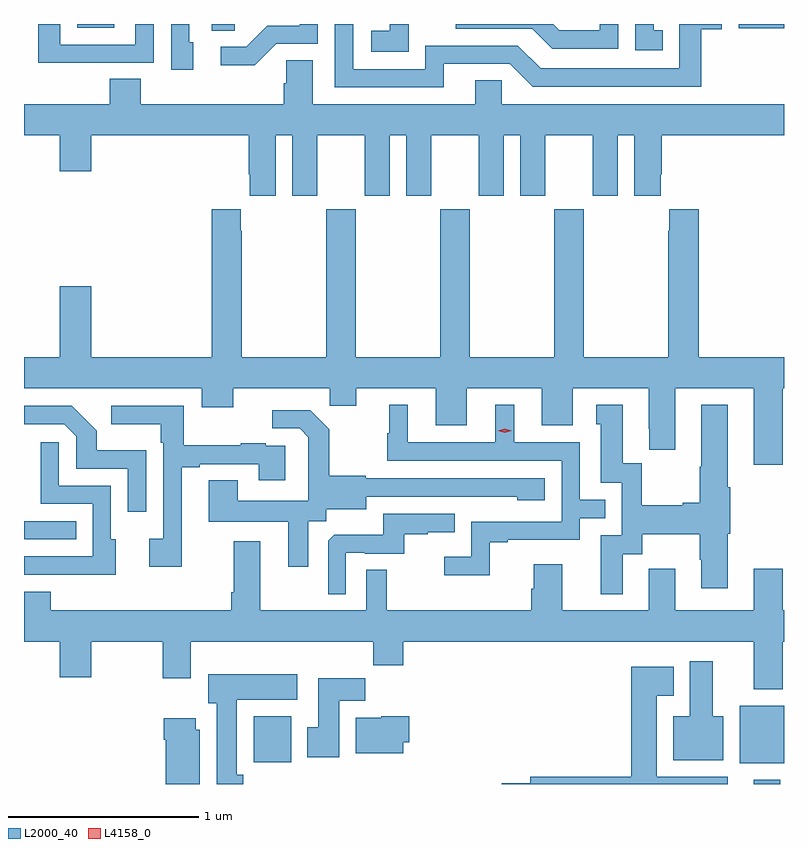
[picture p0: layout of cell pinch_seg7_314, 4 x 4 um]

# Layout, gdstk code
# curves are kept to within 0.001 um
import gdstk
lib = gdstk.Library(unit=1e-6, precision=1e-09)
def R(c, l, rs):  # rectangles x0, y0, x1, y1
    for r in rs: c.add(gdstk.rectangle(r[:2], r[2:], *l))
def P(c, l, *ps):  # polygons
    for p in ps: c.add(gdstk.Polygon(p, *l))
L2000_40 = (2000, 40)
L4158_0 = (4158, 0)

pinch_seg7_314 = lib.new_cell('pinch_seg7_314')
R(pinch_seg7_314, L2000_40, [(456.371,1053.146,456.511,1053.169), (456.299,1053.254,456.531,1053.559), (453.74,1053.26,453.937,1053.502), (452.531,1054.434,452.807,1054.53), (453.518,1057.111,453.639,1057.146), (456.293,1057.124,456.531,1057.146), (452.81,1057.127,453.007,1057.146)])
P(pinch_seg7_314, L2000_40, [(455.658,1057.146),(455.562,1057.146),(455.562,1057.114),(455.348,1057.114),(455.316,1057.146),(454.804,1057.146),(454.804,1057.122),(455.207,1057.122),(455.312,1057.017),(455.658,1057.017)],
  [(455.894,1057.113),(455.845,1057.113),(455.845,1057.146),(455.748,1057.146),(455.748,1057.008),(455.894,1057.008)],
  [(452.897,1056.942),(453.213,1056.942),(453.213,1057.146),(453.117,1057.146),(453.117,1057.038),(452.721,1057.038),(452.721,1057.146),(452.605,1057.146),(452.605,1056.941),(452.897,1056.941)],
  [(454.557,1057.146),(454.457,1057.146),(454.457,1057.111),(454.359,1057.111),(454.359,1057.001),(454.557,1057.001)],
  [(454.741,1056.936),(455.088,1056.936),(455.208,1056.816),(456.095,1056.816),(456.095,1057.119),(456.204,1057.119),(456.204,1057.146),(455.979,1057.146),(455.979,1056.912),(455.25,1056.912),(455.13,1057.032),(454.644,1057.032),(454.644,1056.909),(454.263,1056.909),(454.263,1057.146),(454.167,1057.146),(454.167,1056.813),(454.741,1056.813)],
  [(453.421,1057.05),(453.402,1057.05),(453.402,1057.146),(453.306,1057.146),(453.306,1056.906),(453.421,1056.906)],
  [(453.858,1057.041),(454.077,1057.041),(454.077,1057.146),(453.981,1057.146),(453.981,1057.137),(453.812,1057.137),(453.701,1057.026),(453.567,1057.026),(453.567,1056.929),(453.745,1056.929)],
  [(455.046,1056.851),(454.907,1056.851),(454.907,1056.724),(454.051,1056.724),(454.051,1056.956),(453.912,1056.956),(453.912,1056.833),(453.899,1056.833),(453.899,1056.724),(453.146,1056.724),(453.146,1056.857),(452.981,1056.857),(452.981,1056.724),(452.531,1056.724),(452.531,1056.56),(452.72,1056.56),(452.72,1056.372),(452.884,1056.372),(452.884,1056.56),(453.713,1056.56),(453.713,1056.355),(453.719,1056.355),(453.719,1056.243),(453.856,1056.243),(453.856,1056.56),(453.944,1056.56),(453.944,1056.243),(454.075,1056.243),(454.075,1056.56),(454.325,1056.56),(454.325,1056.243),(454.456,1056.243),(454.456,1056.56),(454.544,1056.56),(454.544,1056.243),(454.675,1056.243),(454.675,1056.56),(454.925,1056.56),(454.925,1056.243),(455.056,1056.243),(455.056,1056.56),(455.144,1056.56),(455.144,1056.243),(455.275,1056.243),(455.275,1056.56),(455.525,1056.56),(455.525,1056.243),(455.656,1056.243),(455.656,1056.56),(455.744,1056.56),(455.744,1056.243),(455.881,1056.243),(455.881,1056.355),(455.888,1056.355),(455.888,1056.56),(456.531,1056.56),(456.531,1056.724),(455.046,1056.724)],
  [(456.524,1055.228),(456.531,1055.228),(456.531,1055.392),(456.083,1055.392),(456.083,1056.172),(455.927,1056.172),(455.927,1056.059),(455.923,1056.059),(455.923,1055.392),(455.478,1055.392),(455.478,1056.172),(455.323,1056.172),(455.323,1055.392),(454.878,1055.392),(454.878,1056.172),(454.723,1056.172),(454.723,1055.392),(454.278,1055.392),(454.278,1056.172),(454.123,1056.172),(454.123,1055.392),(453.678,1055.392),(453.678,1056.059),(453.673,1056.059),(453.673,1056.172),(453.518,1056.172),(453.518,1055.392),(452.884,1055.392),(452.884,1055.767),(452.72,1055.767),(452.72,1055.392),(452.531,1055.392),(452.531,1055.228),(453.467,1055.228),(453.467,1055.129),(453.631,1055.129),(453.631,1055.228),(454.141,1055.228),(454.141,1055.138),(454.279,1055.138),(454.279,1055.228),(454.697,1055.228),(454.697,1055.034),(454.861,1055.034),(454.861,1055.228),(455.255,1055.228),(455.255,1055.034),(455.419,1055.034),(455.419,1055.228),(455.819,1055.228),(455.819,1055.017),(455.822,1055.017),(455.822,1054.905),(455.959,1054.905),(455.959,1055.228),(456.371,1055.228),(456.371,1054.827),(456.524,1054.827)],
  [(455.683,1054.354),(455.785,1054.354),(455.785,1054.46),(456.088,1054.46),(456.088,1054.326),(456.095,1054.326),(456.095,1054.176),(456.235,1054.176),(456.235,1054.464),(456.248,1054.464),(456.248,1054.708),(456.235,1054.708),(456.235,1055.143),(456.095,1055.143),(456.095,1054.817),(456.088,1054.817),(456.088,1054.625),(455.999,1054.625),(455.999,1054.612),(455.781,1054.612),(455.781,1054.835),(455.683,1054.835),(455.683,1055.143),(455.543,1055.143),(455.543,1055.04),(455.567,1055.04),(455.567,1054.731),(455.676,1054.731),(455.676,1054.455),(455.567,1054.455),(455.567,1054.146),(455.683,1054.146)],
  [(454.983,1054.419),(455.077,1054.419),(455.077,1054.431),(455.457,1054.431),(455.457,1054.545),(455.591,1054.545),(455.591,1054.641),(455.457,1054.641),(455.457,1054.944),(455.11,1054.944),(455.11,1055.143),(455.012,1055.143),(455.012,1054.944),(454.552,1054.944),(454.552,1055.143),(454.454,1055.143),(454.454,1054.992),(454.443,1054.992),(454.443,1054.848),(455.361,1054.848),(455.361,1054.527),(454.884,1054.527),(454.884,1054.342),(454.743,1054.342),(454.743,1054.244),(454.983,1054.244)],
  [(453.174,1054.903),(452.913,1054.903),(452.913,1055.006),(452.782,1055.136),(452.531,1055.136),(452.531,1055.04),(452.742,1055.04),(452.805,1054.977),(452.805,1054.806),(453.078,1054.806),(453.078,1054.578),(453.174,1054.578)],
  [(453.361,1054.812),(453.457,1054.812),(453.457,1054.83),(453.767,1054.83),(453.767,1054.746),(453.907,1054.746),(453.907,1054.926),(453.803,1054.926),(453.803,1054.939),(453.671,1054.939),(453.671,1054.928),(453.373,1054.928),(453.373,1055.136),(452.991,1055.136),(452.991,1055.039),(453.252,1055.039),(453.252,1054.943),(453.264,1054.943),(453.264,1054.438),(453.189,1054.438),(453.189,1054.29),(453.361,1054.29)],
  [(454.027,1054.528),(454.122,1054.528),(454.122,1054.592),(454.333,1054.592),(454.333,1054.659),(455.127,1054.658),(455.127,1054.64),(455.272,1054.64),(455.272,1054.755),(454.329,1054.755),(454.329,1054.768),(454.137,1054.768),(454.137,1055.013),(454.037,1055.113),(453.837,1055.113),(453.837,1055.019),(453.981,1055.019),(454.028,1054.972),(454.028,1054.877),(454.026,1054.877),(454.026,1054.636),(453.655,1054.636),(453.655,1054.745),(453.503,1054.745),(453.503,1054.526),(453.923,1054.526),(453.923,1054.29),(454.027,1054.29)],
  [(453.013,1054.434),(452.988,1054.434),(452.988,1054.716),(452.715,1054.716),(452.715,1054.945),(452.619,1054.945),(452.619,1054.62),(452.892,1054.62),(452.892,1054.344),(452.531,1054.344),(452.531,1054.248),(452.795,1054.248),(452.795,1054.247),(453.013,1054.247)],
  [(454.224,1054.362),(454.324,1054.362),(454.324,1054.359),(454.532,1054.359),(454.532,1054.461),(454.655,1054.461),(454.655,1054.472),(454.799,1054.472),(454.799,1054.569),(454.422,1054.569),(454.422,1054.457),(454.163,1054.457),(454.131,1054.425),(454.131,1054.145),(454.224,1054.145)],
  [(456.524,1053.896),(456.531,1053.896),(456.531,1054.06),(456.524,1054.06),(456.524,1054.279),(456.371,1054.279),(456.371,1054.06),(455.959,1054.06),(455.959,1054.279),(455.819,1054.279),(455.819,1054.06),(455.365,1054.06),(455.365,1054.303),(455.213,1054.303),(455.213,1054.173),(455.201,1054.173),(455.201,1054.06),(454.441,1054.06),(454.441,1054.274),(454.332,1054.274),(454.332,1054.06),(453.775,1054.06),(453.775,1054.423),(453.635,1054.423),(453.635,1054.156),(453.623,1054.156),(453.623,1054.06),(452.671,1054.06),(452.671,1054.159),(452.531,1054.159),(452.531,1053.896),(452.72,1053.896),(452.72,1053.708),(452.884,1053.708),(452.884,1053.896),(453.262,1053.896),(453.262,1053.702),(453.409,1053.702),(453.409,1053.896),(454.369,1053.896),(454.369,1053.772),(454.526,1053.772),(454.526,1053.896),(456.371,1053.896),(456.371,1053.644),(456.524,1053.644)],
  [(456.211,1053.502),(456.157,1053.502),(456.157,1053.793),(456.035,1053.793),(456.035,1053.502),(455.948,1053.502),(455.948,1053.272),(456.211,1053.272)],
  [(456.235,1053.184),(455.86,1053.184),(455.86,1053.611),(455.95,1053.611),(455.95,1053.763),(455.726,1053.763),(455.726,1053.185),(455.195,1053.185),(455.195,1053.149),(455.046,1053.149),(455.046,1053.146),(456.235,1053.146)],
  [(453.685,1053.194),(453.652,1053.194),(453.652,1053.59),(453.97,1053.59),(453.97,1053.724),(453.5,1053.724),(453.5,1053.57),(453.545,1053.57),(453.545,1053.146),(453.685,1053.146)],
  [(454.189,1053.584),(454.328,1053.584),(454.328,1053.703),(454.079,1053.703),(454.079,1053.444),(454.022,1053.444),(454.022,1053.288),(454.189,1053.288)],
  [(454.528,1053.366),(454.559,1053.366),(454.559,1053.502),(454.41,1053.502),(454.41,1053.496),(454.277,1053.496),(454.277,1053.308),(454.528,1053.308)],
  [(453.457,1053.432),(453.436,1053.432),(453.436,1053.493),(453.266,1053.493),(453.266,1053.38),(453.278,1053.38),(453.278,1053.146),(453.457,1053.146)])
P(pinch_seg7_314, L4158_0, [(455.061,1054.995),(455.025,1055.005),(455.025,1055.005),(455.025,1055.005),(455.061,1055.015),(455.097,1055.005),(455.097,1055.005),(455.097,1055.005)])

lib.write_gds('pinch_seg7_314.gds')
